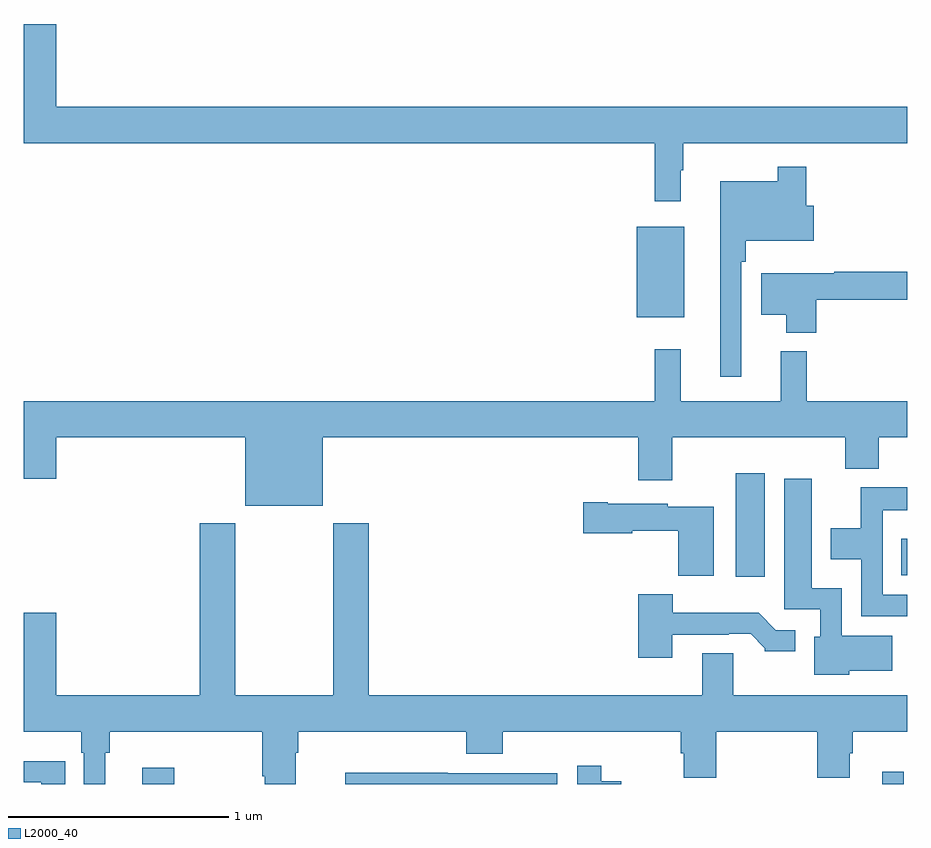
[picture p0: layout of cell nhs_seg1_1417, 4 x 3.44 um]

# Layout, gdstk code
import gdstk
lib = gdstk.Library(unit=1e-6, precision=1e-09)
def R(c, l, rs):  # rectangles x0, y0, x1, y1
    for r in rs: c.add(gdstk.rectangle(r[:2], r[2:], *l))
def P(c, l, *ps):  # polygons
    for p in ps: c.add(gdstk.Polygon(p, *l))
L2000_40 = (2000, 40)

nhs_seg1_1417 = lib.new_cell('nhs_seg1_1417')
R(nhs_seg1_1417, L2000_40, [(189.536,514.199,189.682,514.273), (192.887,514.199,192.984,514.255), (192.224,515.136,192.355,515.605), (192.973,515.144,193,515.308), (191.774,516.311,191.989,516.721)])
P(nhs_seg1_1417, L2000_40, [(191.974,516.977),(191.986,516.977),(191.986,517.1),(193,517.1),(193,517.264),(189.148,517.264),(189.148,517.639),(189,517.639),(189,517.1),(191.857,517.1),(191.857,516.837),(191.974,516.837)],
  [(192.249,516.563),(192.269,516.563),(192.269,516.659),(192.577,516.659),(192.577,516.817),(192.542,516.817),(192.542,516.994),(192.414,516.994),(192.414,516.928),(192.152,516.928),(192.152,516.042),(192.249,516.042)],
  [(192.587,516.39),(193,516.39),(193,516.518),(192.67,516.518),(192.67,516.511),(192.338,516.511),(192.338,516.323),(192.452,516.323),(192.452,516.242),(192.587,516.242)],
  [(190.354,515.768),(191.783,515.768),(191.783,515.574),(191.935,515.574),(191.935,515.768),(192.719,515.768),(192.719,515.627),(192.871,515.627),(192.871,515.768),(193,515.768),(193,515.932),(192.545,515.932),(192.545,516.157),(192.428,516.157),(192.428,515.932),(191.975,515.932),(191.975,516.166),(191.857,516.166),(191.857,515.932),(189,515.932),(189,515.58),(189.148,515.58),(189.148,515.768),(190.004,515.768),(190.004,515.459),(190.354,515.459)],
  [(192.738,514.712),(192.931,514.712),(192.931,514.87),(192.702,514.87),(192.702,515.086),(192.568,515.086),(192.568,515.581),(192.443,515.581),(192.443,514.989),(192.606,514.989),(192.606,514.866),(192.578,514.866),(192.578,514.694),(192.738,514.694)],
  [(193,515.055),(192.888,515.055),(192.888,515.438),(193,515.438),(193,515.542),(192.79,515.542),(192.79,515.356),(192.653,515.356),(192.653,515.216),(192.792,515.216),(192.792,514.959),(193,514.959)],
  [(192.124,515.455),(191.916,515.455),(191.916,515.467),(191.644,515.467),(191.644,515.475),(191.532,515.475),(191.532,515.333),(191.754,515.333),(191.754,515.345),(191.962,515.345),(191.962,515.141),(192.124,515.141)],
  [(189.37,514.34),(189.389,514.34),(189.389,514.436),(190.079,514.436),(190.079,514.234),(190.091,514.234),(190.091,514.199),(190.231,514.199),(190.231,514.34),(190.244,514.34),(190.244,514.436),(191.003,514.436),(191.003,514.337),(191.168,514.337),(191.168,514.436),(191.975,514.436),(191.975,514.338),(191.987,514.338),(191.987,514.228),(192.135,514.228),(192.135,514.436),(192.592,514.436),(192.592,514.228),(192.739,514.228),(192.739,514.338),(192.752,514.338),(192.752,514.436),(193,514.436),(193,514.6),(192.211,514.6),(192.211,514.79),(192.071,514.79),(192.071,514.6),(190.562,514.6),(190.562,515.38),(190.402,515.38),(190.402,514.6),(189.957,514.6),(189.957,515.38),(189.797,515.38),(189.797,514.6),(189.148,514.6),(189.148,514.975),(189,514.975),(189,514.436),(189.26,514.436),(189.26,514.34),(189.273,514.34),(189.273,514.199),(189.37,514.199)],
  [(191.935,514.875),(192.191,514.875),(192.191,514.878),(192.29,514.878),(192.354,514.814),(192.354,514.799),(192.493,514.799),(192.493,514.896),(192.405,514.896),(192.327,514.975),(191.938,514.975),(191.938,515.059),(191.783,515.059),(191.783,514.77),(191.935,514.77)],
  [(189.188,514.302),(189.08,514.302),(189.08,514.303),(189,514.303),(189,514.206),(189.08,514.206),(189.08,514.199),(189.188,514.199)],
  [(191.706,514.212),(191.614,514.212),(191.614,514.282),(191.505,514.282),(191.505,514.199),(191.706,514.199)],
  [(191.415,514.248),(190.919,514.248),(190.919,514.25),(190.456,514.25),(190.456,514.199),(191.415,514.199)])

lib.write_gds('nhs_seg1_1417.gds')
